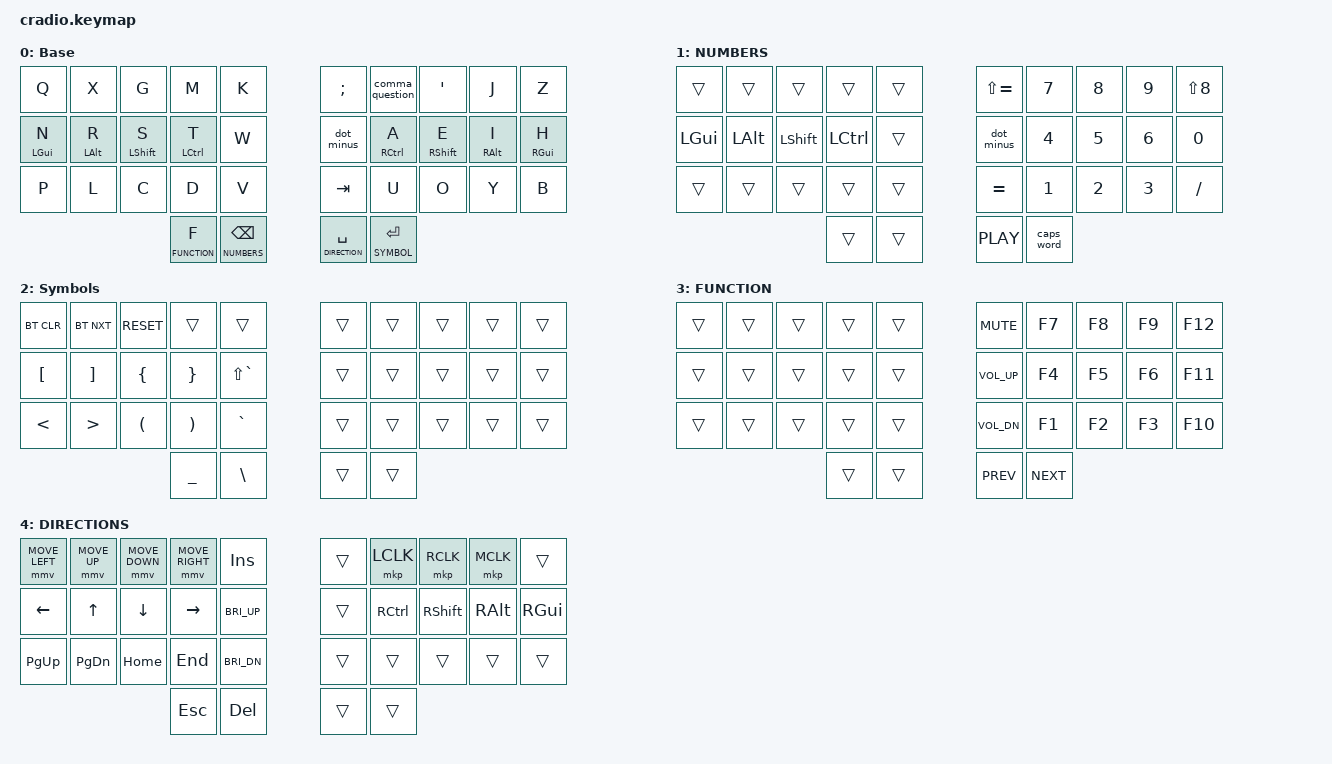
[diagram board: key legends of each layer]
#include <behaviors.dtsi>
#include <dt-bindings/zmk/keys.h>
#include <dt-bindings/zmk/bt.h>
#include <dt-bindings/zmk/outputs.h>
#include <dt-bindings/zmk/mouse.h>
#include <behaviors/mouse_keys.dtsi>

// Layer definitions
    #define BASE 0
    #define NUMBERS 1
    #define SYMBOL 2
    #define FUNCTION 3
    #define DIRECTION 4

// Mouse movement speed
#define ZMK_MOUSE_DEFAULT_MOVE_VAL 3000  // 600
// -----------------

&mt {
    flavor = "tap-preferred";
    tapping_term_ms = <175>;
    quick_tap_ms = <0>;
    retro-tap;
};

&mmv {
  acceleration-exponent = <1>;      // 1
  time-to-max-speed-ms = <500>;    // 40
  delay-ms = <0>;                   // 0
};

/ {
    behaviors {
        comma_question: comma_question {
            compatible = "zmk,behavior-mod-morph";
            #binding-cells = <0>;
            bindings = <&kp COMMA>, <&kp QUESTION>;
            mods = <(MOD_LSFT|MOD_RSFT)>;
        };
        dot_minus: dot_minus {
            compatible = "zmk,behavior-mod-morph";
            #binding-cells = <0>;
            bindings = <&kp DOT>, <&kp MINUS>;
            mods = <(MOD_LSFT|MOD_RSFT)>;
        };
    };
};

&caps_word {
    continue-list = <UNDERSCORE BSPC MINUS>;
};

/ {
    keymap {
                compatible = "zmk,keymap";

        // Base alpha layer
                base_layer {
                        label = "Base";
                        bindings = <
                        &kp Q      &kp X      &kp G        &kp M       &kp K            &kp SEMI   &comma_question &kp APOS     &kp J      &kp Z
                        &mt LGUI N &mt LALT R &mt LSHIFT S &mt LCTRL T &kp W            &dot_minus &mt RCTRL A     &mt RSHIFT E &mt RALT I &mt RGUI H
                        &kp P      &kp L      &kp C        &kp D       &kp V            &kp TAB    &kp U           &kp O        &kp Y      &kp B
                                        &lt FUNCTION F &lt NUMBERS BSPC                 &lt DIRECTION SPACE &lt SYMBOL ENTER
                        >;
                };

        // Numbers and math stuff
                NUMBERS_layer {
                        label = "NUMBERS";
                        bindings = <
                        &trans   &trans   &trans     &trans    &trans        &kp LS(EQUAL) &kp N7 &kp N8 &kp N9 &kp LS(N8)
                        &kp LGUI &kp LALT &kp LSHIFT &kp LCTRL &trans        &dot_minus    &kp N4 &kp N5 &kp N6 &kp N0
                        &trans   &trans   &trans     &trans    &trans        &kp EQUAL     &kp N1 &kp N2 &kp N3 &kp SLASH
                                                     &trans    &trans        &kp C_PLAY    &caps_word
                        >;
                };

        // mostly just brackets
            sym_layer {
                        label = "Symbols";
                        bindings = <
                        &bt BT_CLR &bt BT_NXT &kp C_RESET &trans    &trans             &trans &trans &trans &trans &trans
                        &kp LBKT   &kp RBKT   &kp LBRC    &kp RBRC  &kp LS(GRAVE)      &trans &trans &trans &trans &trans
                        &kp LT     &kp GT     &kp LPAR    &kp RPAR  &kp GRAVE          &trans &trans &trans &trans &trans
                                                          &kp UNDER &kp BACKSLASH      &trans &trans
                        >;
                };

        // function keys and media controls
                FUNCTION_layer {
                        label = "FUNCTION";
                        bindings = <
                        &trans &trans &trans &trans &trans          &kp C_MUTE    &kp F7 &kp F8 &kp F9 &kp F12
                        &trans &trans &trans &trans &trans          &kp C_VOL_UP  &kp F4 &kp F5 &kp F6 &kp F11
                        &trans &trans &trans &trans &trans          &kp C_VOL_DN  &kp F1 &kp F2 &kp F3 &kp F10
                                             &trans &trans          &kp C_PREV    &kp C_NEXT
                        >;
                };

        // mouse and direction controls
                DIRECTION_layer {
                        label = "DIRECTIONS";
                        bindings = <
                        &mmv MOVE_LEFT &mmv MOVE_UP &mmv MOVE_DOWN &mmv MOVE_RIGHT &kp INS          &trans &mkp LCLK &mkp RCLK  &mkp MCLK &trans
                        &kp LEFT       &kp UP       &kp DOWN       &kp RIGHT       &kp C_BRI_UP     &trans &kp RCTRL &kp RSHIFT &kp RALT  &kp RGUI
                        &kp PG_UP      &kp PG_DN    &kp HOME       &kp END         &kp C_BRI_DN     &trans &trans    &trans     &trans    &trans
                                                                &kp ESC &kp DELETE                  &trans &trans
                        >;
                };
        };
};
